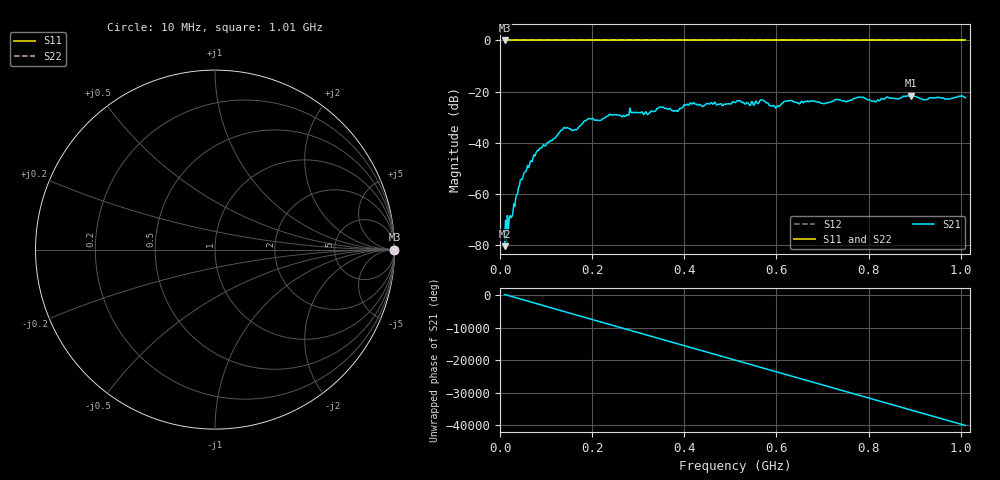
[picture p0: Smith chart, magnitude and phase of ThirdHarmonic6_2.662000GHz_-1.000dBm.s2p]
! 8/17/2025 6:08:41 AM
! C:\ANRITSUVNA\TEMP\TEMP.S2P
! CHANNEL.1
! TR.MEASUREMENT
! RAW.DATA
! RF.CORRECTION.OFF
! AVERAGING.OFF
! IF.BANDWIDTH: 5KHZ
! SWEEPTYPE:  FREQ.SWEEP(Linear)
! Reference Plane Port Info
! PORT:  PORT1  PORT2
! DISTANCE:  0  m  0  m
! TIME:  0  s  0  s
! PHASE.OFFSET:  0  deg.  0  deg.
! LOSS:  0  dB  0  dB
! REF.LOSS:  0  dB  0  dB
! REF.FREQ:  0  Hz  0  Hz
! Power Info
! POWER:  -20  dBm  -20  dBm
! EFF.POWER:  -20  dBm  -20  dBm
! SOURCE.ATTEN:  0  dB  0  dB
! TEST.ATTEN:  0  dB  0  dB
# GHZ S RI R 50.0
! FREQ.GHZ  S11RE  S11IM  S21RE  S21IM  S12RE  S12IM  S22RE  S22IM
!; PortSelection: Port_12
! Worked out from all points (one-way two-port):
!   501 points, 10 MHz to 1.01 GHz, reference 50 ohm
!   highest |S21| = -21.62 dB at 892 MHz (marker M1); lowest = -80.6 dB at 10 MHz (marker M2)
!   lowest |S11| = 0.0 dB at 10 MHz (marker M3)
!   |S11| at or under -10 dB: nowhere
!   |S22| runs from 0.0 to 0.0 dB; largest |S21 - S12| = 1.1
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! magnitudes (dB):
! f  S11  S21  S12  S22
! 10 MHz  0.0  -80.6  0.0  0.0
! 16 MHz  0.0  -68.6  0.0  0.0
! 28 MHz  0.0  -67.6  0.0  0.0
! 44 MHz  0.0  -54.7  0.0  0.0
! 76 MHz  0.0  -45.3  0.0  0.0
! 136 MHz  0.0  -34.9  0.0  0.0
! 162 MHz  0.0  -35.1  0.0  0.0
! 178 MHz  0.0  -32.8  0.0  0.0
! 240 MHz  0.0  -29.1  0.0  0.0
! 322 MHz  0.0  -28.7  0.0  0.0
! 344 MHz  0.0  -26.5  0.0  0.0
! 382 MHz  0.0  -27.4  0.0  0.0
! 416 MHz  0.0  -24.9  0.0  0.0
! 510 MHz  0.0  -24.4  0.0  0.0
! 570 MHz  0.0  -23.4  0.0  0.0
! 602 MHz  0.0  -25.7  0.0  0.0
! 620 MHz  0.0  -23.8  0.0  0.0
! 678 MHz  0.0  -23.8  0.0  0.0
! 844 MHz  0.0  -22.5  0.0  0.0
! 892 MHz  0.0  -21.6  0.0  0.0
! 922 MHz  0.0  -23.2  0.0  0.0
! 1.01 GHz  0.0  -22.4  0.0  0.0
